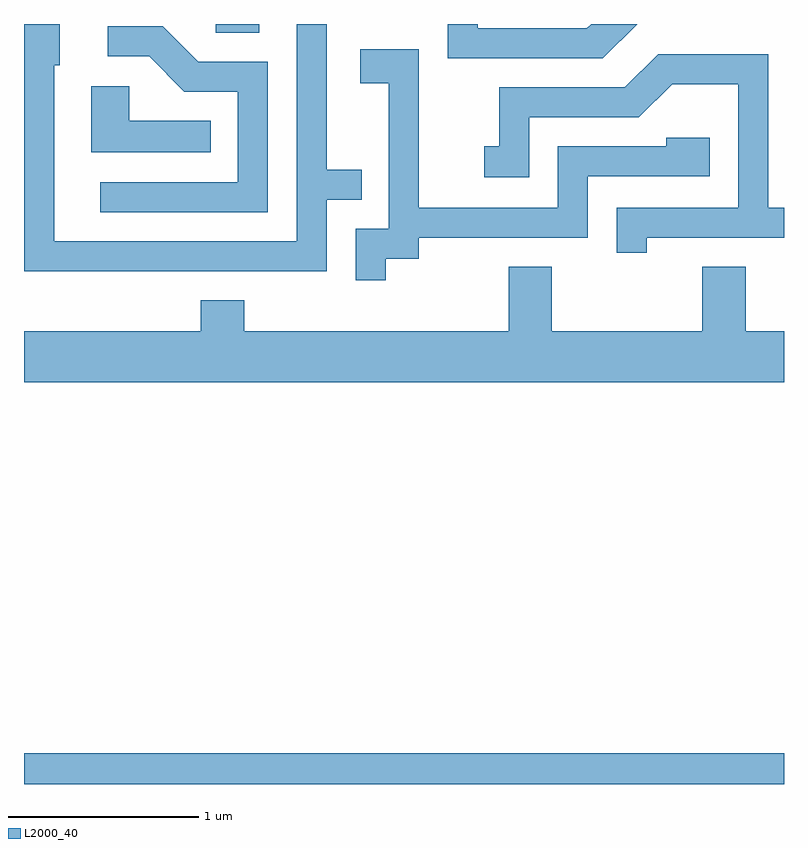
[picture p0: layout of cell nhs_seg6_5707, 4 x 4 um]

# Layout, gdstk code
import gdstk
lib = gdstk.Library(unit=1e-6, precision=1e-09)
def R(c, l, rs):  # rectangles x0, y0, x1, y1
    for r in rs: c.add(gdstk.rectangle(r[:2], r[2:], *l))
def P(c, l, *ps):  # polygons
    for p in ps: c.add(gdstk.Polygon(p, *l))
L2000_40 = (2000, 40)

nhs_seg6_5707 = lib.new_cell('nhs_seg6_5707')
R(nhs_seg6_5707, L2000_40, [(359.611,1530.162,363.611,1530.324), (360.621,1534.116,360.849,1534.162)])
P(nhs_seg6_5707, L2000_40, [(361.204,1533.236),(361.388,1533.236),(361.388,1533.394),(361.204,1533.394),(361.204,1534.162),(361.046,1534.162),(361.046,1533.019),(359.769,1533.019),(359.769,1533.946),(359.799,1533.946),(359.799,1534.162),(359.611,1534.162),(359.611,1532.861),(361.204,1532.861)],
  [(362.838,1534.162),(362.597,1534.162),(362.574,1534.139),(361.999,1534.139),(361.999,1534.162),(361.841,1534.162),(361.841,1533.981),(362.657,1533.981)],
  [(360.894,1533.964),(360.527,1533.964),(360.342,1534.149),(360.053,1534.149),(360.053,1533.991),(360.269,1533.991),(360.454,1533.806),(360.736,1533.806),(360.736,1533.329),(360.013,1533.329),(360.013,1533.171),(360.894,1533.171)],
  [(361.514,1532.926),(361.689,1532.926),(361.689,1533.036),(362.579,1533.036),(362.579,1533.361),(363.219,1533.361),(363.219,1533.564),(362.991,1533.564),(362.991,1533.519),(362.421,1533.519),(362.421,1533.194),(361.689,1533.194),(361.689,1534.029),(361.381,1534.029),(361.381,1533.851),(361.531,1533.851),(361.531,1533.084),(361.356,1533.084),(361.356,1532.813),(361.514,1532.813)],
  [(362.889,1533.036),(363.611,1533.036),(363.611,1533.194),(363.529,1533.194),(363.529,1534.004),(362.949,1534.004),(362.774,1533.829),(362.111,1533.829),(362.111,1533.519),(362.033,1533.519),(362.033,1533.356),(362.269,1533.356),(362.269,1533.671),(362.847,1533.671),(363.022,1533.846),(363.371,1533.846),(363.371,1533.194),(362.731,1533.194),(362.731,1532.958),(362.889,1532.958)],
  [(360.593,1533.654),(360.164,1533.654),(360.164,1533.834),(359.966,1533.834),(359.966,1533.486),(360.593,1533.486)],
  [(363.611,1532.544),(363.409,1532.544),(363.409,1532.884),(363.181,1532.884),(363.181,1532.544),(362.389,1532.544),(362.389,1532.884),(362.161,1532.884),(362.161,1532.544),(360.769,1532.544),(360.769,1532.709),(360.541,1532.709),(360.541,1532.544),(359.611,1532.544),(359.611,1532.276),(363.611,1532.276)])

lib.write_gds('nhs_seg6_5707.gds')
